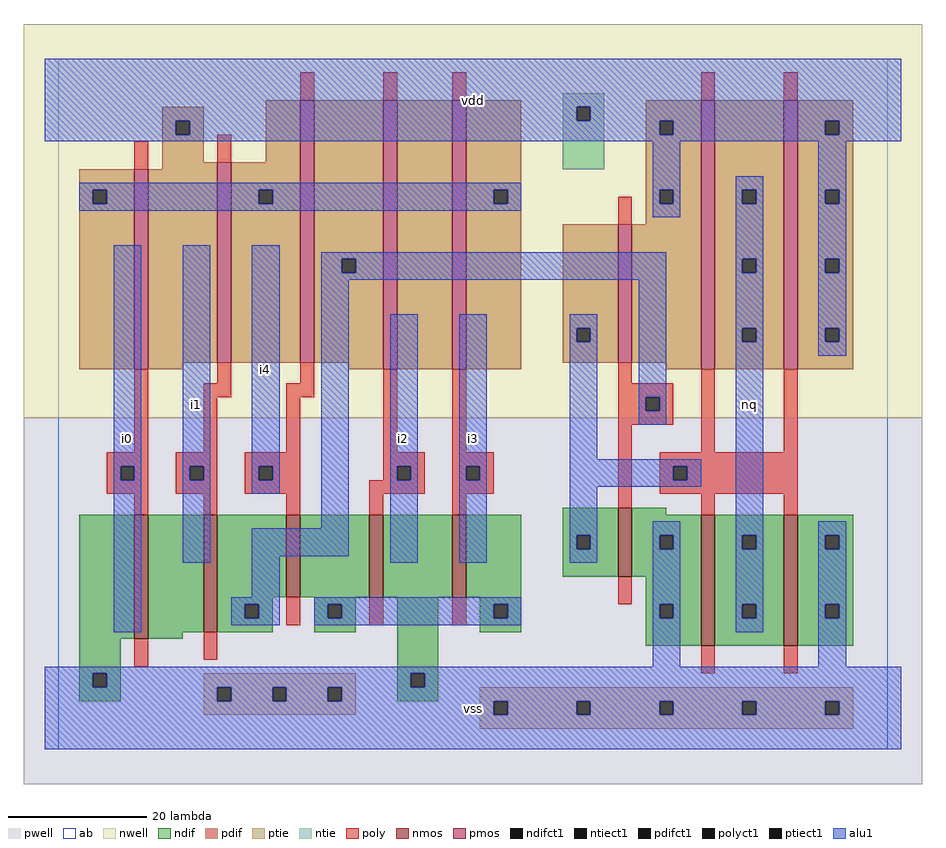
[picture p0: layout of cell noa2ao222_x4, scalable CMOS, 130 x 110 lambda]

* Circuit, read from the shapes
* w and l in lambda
.subckt noa2ao222_x4 i0 i1 i2 i3 i4 nq vdd vss
M1 n1 i0 vss vss nfet w=18 l=2
M2 n2 i1 n1 vss nfet w=17 l=2
M3 n3 i4 n2 vss nfet w=12 l=2
M4 vss i2 n3 vss nfet w=12 l=2
M5 n3 i3 vss vss nfet w=12 l=2
M6 vss n2 n4 vss nfet w=10 l=2
M7 nq n4 vss vss nfet w=19 l=2 m=2
M8 vdd i0 n5 vdd pfet w=29 l=2
M9 n5 i1 vdd vdd pfet w=29 l=2
M10 n2 i4 n5 vdd pfet w=38 l=2
M11 n6 i2 n2 vdd pfet w=39 l=2
M12 n5 i3 n6 vdd pfet w=39 l=2
M13 vdd n2 n4 vdd pfet w=20 l=2
M14 nq n4 vdd vdd pfet w=39 l=2 m=2
.ends

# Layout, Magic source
magic
tech scmos
<< ab >>
rect 0 0 120 100
<< nwell >>
rect -5 48 125 105
<< pwell >>
rect -5 -5 125 48
<< poly >>
rect 35 94 37 98
rect 47 94 49 98
rect 57 94 59 98
rect 11 84 13 88
rect 23 85 25 89
rect 11 43 13 55
rect 23 53 25 56
rect 35 53 37 56
rect 93 94 95 98
rect 105 94 107 98
rect 81 76 83 80
rect 21 51 25 53
rect 33 51 37 53
rect 21 43 23 51
rect 33 43 35 51
rect 7 41 13 43
rect 7 39 9 41
rect 11 39 13 41
rect 7 37 13 39
rect 17 41 23 43
rect 17 39 19 41
rect 21 39 23 41
rect 17 37 23 39
rect 27 41 35 43
rect 27 39 29 41
rect 31 39 35 41
rect 47 43 49 55
rect 57 43 59 55
rect 81 53 83 56
rect 81 51 89 53
rect 81 49 85 51
rect 87 49 89 51
rect 81 47 89 49
rect 47 41 53 43
rect 47 39 49 41
rect 51 39 53 41
rect 27 37 35 39
rect 11 34 13 37
rect 21 34 23 37
rect 33 34 35 37
rect 45 37 53 39
rect 57 41 63 43
rect 57 39 59 41
rect 61 39 63 41
rect 57 37 63 39
rect 45 34 47 37
rect 57 34 59 37
rect 81 35 83 47
rect 93 43 95 55
rect 105 43 107 55
rect 87 41 107 43
rect 87 39 89 41
rect 91 39 107 41
rect 87 37 107 39
rect 93 34 95 37
rect 105 34 107 37
rect 33 18 35 22
rect 45 18 47 22
rect 11 12 13 16
rect 21 13 23 17
rect 57 18 59 22
rect 81 21 83 25
rect 93 11 95 15
rect 105 11 107 15
<< ndif >>
rect 3 16 11 34
rect 13 17 21 34
rect 23 22 33 34
rect 35 22 45 34
rect 47 22 57 34
rect 59 22 67 34
rect 73 31 81 35
rect 73 29 75 31
rect 77 29 81 31
rect 73 25 81 29
rect 83 34 88 35
rect 83 31 93 34
rect 83 29 87 31
rect 89 29 93 31
rect 83 25 93 29
rect 23 21 31 22
rect 23 19 27 21
rect 29 19 31 21
rect 23 17 31 19
rect 37 21 43 22
rect 37 19 39 21
rect 41 19 43 21
rect 37 17 43 19
rect 13 16 18 17
rect 3 11 9 16
rect 49 11 55 22
rect 61 21 67 22
rect 85 21 93 25
rect 61 19 63 21
rect 65 19 67 21
rect 61 17 67 19
rect 85 19 87 21
rect 89 19 93 21
rect 85 15 93 19
rect 95 31 105 34
rect 95 29 99 31
rect 101 29 105 31
rect 95 21 105 29
rect 95 19 99 21
rect 101 19 105 21
rect 95 15 105 19
rect 107 31 115 34
rect 107 29 111 31
rect 113 29 115 31
rect 107 21 115 29
rect 107 19 111 21
rect 113 19 115 21
rect 107 15 115 19
rect 3 9 5 11
rect 7 9 9 11
rect 3 7 9 9
rect 49 9 51 11
rect 53 9 55 11
rect 49 7 55 9
<< pdif >>
rect 15 91 21 93
rect 15 89 17 91
rect 19 89 21 91
rect 15 85 21 89
rect 30 85 35 94
rect 15 84 23 85
rect 3 81 11 84
rect 3 79 5 81
rect 7 79 11 81
rect 3 55 11 79
rect 13 56 23 84
rect 25 81 35 85
rect 25 79 29 81
rect 31 79 35 81
rect 25 56 35 79
rect 37 71 47 94
rect 37 69 41 71
rect 43 69 47 71
rect 37 56 47 69
rect 13 55 18 56
rect 42 55 47 56
rect 49 55 57 94
rect 59 81 67 94
rect 85 91 93 94
rect 85 89 87 91
rect 89 89 93 91
rect 59 79 63 81
rect 65 79 67 81
rect 85 81 93 89
rect 59 55 67 79
rect 85 79 87 81
rect 89 79 93 81
rect 85 76 93 79
rect 73 61 81 76
rect 73 59 75 61
rect 77 59 81 61
rect 73 56 81 59
rect 83 56 93 76
rect 88 55 93 56
rect 95 81 105 94
rect 95 79 99 81
rect 101 79 105 81
rect 95 71 105 79
rect 95 69 99 71
rect 101 69 105 71
rect 95 61 105 69
rect 95 59 99 61
rect 101 59 105 61
rect 95 55 105 59
rect 107 91 115 94
rect 107 89 111 91
rect 113 89 115 91
rect 107 81 115 89
rect 107 79 111 81
rect 113 79 115 81
rect 107 71 115 79
rect 107 69 111 71
rect 113 69 115 71
rect 107 61 115 69
rect 107 59 111 61
rect 113 59 115 61
rect 107 55 115 59
<< alu1 >>
rect -2 93 122 100
rect -2 91 75 93
rect 77 91 122 93
rect -2 89 17 91
rect 19 89 87 91
rect 89 89 111 91
rect 113 89 122 91
rect -2 88 122 89
rect 3 81 67 82
rect 3 79 5 81
rect 7 79 29 81
rect 31 79 63 81
rect 65 79 67 81
rect 3 78 67 79
rect 86 81 90 88
rect 86 79 87 81
rect 89 79 90 81
rect 86 77 90 79
rect 98 81 102 83
rect 98 79 99 81
rect 101 79 102 81
rect 8 41 12 73
rect 8 39 9 41
rect 11 39 12 41
rect 8 17 12 39
rect 18 41 22 73
rect 18 39 19 41
rect 21 39 22 41
rect 18 27 22 39
rect 28 41 32 73
rect 28 39 29 41
rect 31 39 32 41
rect 28 37 32 39
rect 38 71 88 72
rect 38 69 41 71
rect 43 69 88 71
rect 38 68 88 69
rect 38 32 42 68
rect 28 28 42 32
rect 48 41 52 63
rect 48 39 49 41
rect 51 39 52 41
rect 28 22 32 28
rect 48 27 52 39
rect 58 41 62 63
rect 58 39 59 41
rect 61 39 62 41
rect 58 27 62 39
rect 74 61 78 63
rect 74 59 75 61
rect 77 59 78 61
rect 74 42 78 59
rect 84 51 88 68
rect 84 49 85 51
rect 87 49 88 51
rect 84 47 88 49
rect 98 71 102 79
rect 98 69 99 71
rect 101 69 102 71
rect 98 61 102 69
rect 98 59 99 61
rect 101 59 102 61
rect 74 41 93 42
rect 74 39 89 41
rect 91 39 93 41
rect 74 38 93 39
rect 74 31 78 38
rect 74 29 75 31
rect 77 29 78 31
rect 74 27 78 29
rect 86 31 90 33
rect 86 29 87 31
rect 89 29 90 31
rect 25 21 32 22
rect 25 19 27 21
rect 29 19 32 21
rect 25 18 32 19
rect 37 21 67 22
rect 37 19 39 21
rect 41 19 63 21
rect 65 19 67 21
rect 37 18 67 19
rect 86 21 90 29
rect 86 19 87 21
rect 89 19 90 21
rect 86 12 90 19
rect 98 31 102 59
rect 110 81 114 88
rect 110 79 111 81
rect 113 79 114 81
rect 110 71 114 79
rect 110 69 111 71
rect 113 69 114 71
rect 110 61 114 69
rect 110 59 111 61
rect 113 59 114 61
rect 110 57 114 59
rect 98 29 99 31
rect 101 29 102 31
rect 98 21 102 29
rect 98 19 99 21
rect 101 19 102 21
rect 98 17 102 19
rect 110 31 114 33
rect 110 29 111 31
rect 113 29 114 31
rect 110 21 114 29
rect 110 19 111 21
rect 113 19 114 21
rect 110 12 114 19
rect -2 11 122 12
rect -2 9 5 11
rect 7 9 51 11
rect 53 9 122 11
rect -2 7 23 9
rect 25 7 31 9
rect 33 7 39 9
rect 41 7 122 9
rect -2 5 63 7
rect 65 5 75 7
rect 77 5 87 7
rect 89 5 99 7
rect 101 5 111 7
rect 113 5 122 7
rect -2 0 122 5
<< ptie >>
rect 21 9 43 11
rect 21 7 23 9
rect 25 7 31 9
rect 33 7 39 9
rect 41 7 43 9
rect 61 7 115 9
rect 21 5 43 7
rect 61 5 63 7
rect 65 5 75 7
rect 77 5 87 7
rect 89 5 99 7
rect 101 5 111 7
rect 113 5 115 7
rect 61 3 115 5
<< ntie >>
rect 73 93 79 95
rect 73 91 75 93
rect 77 91 79 93
rect 73 84 79 91
<< nmos >>
rect 11 16 13 34
rect 21 17 23 34
rect 33 22 35 34
rect 45 22 47 34
rect 57 22 59 34
rect 81 25 83 35
rect 93 15 95 34
rect 105 15 107 34
<< pmos >>
rect 11 55 13 84
rect 23 56 25 85
rect 35 56 37 94
rect 47 55 49 94
rect 57 55 59 94
rect 81 56 83 76
rect 93 55 95 94
rect 105 55 107 94
<< polyct1 >>
rect 9 39 11 41
rect 19 39 21 41
rect 29 39 31 41
rect 85 49 87 51
rect 49 39 51 41
rect 59 39 61 41
rect 89 39 91 41
<< ndifct1 >>
rect 75 29 77 31
rect 87 29 89 31
rect 27 19 29 21
rect 39 19 41 21
rect 63 19 65 21
rect 87 19 89 21
rect 99 29 101 31
rect 99 19 101 21
rect 111 29 113 31
rect 111 19 113 21
rect 5 9 7 11
rect 51 9 53 11
<< ntiect1 >>
rect 75 91 77 93
<< ptiect1 >>
rect 23 7 25 9
rect 31 7 33 9
rect 39 7 41 9
rect 63 5 65 7
rect 75 5 77 7
rect 87 5 89 7
rect 99 5 101 7
rect 111 5 113 7
<< pdifct1 >>
rect 17 89 19 91
rect 5 79 7 81
rect 29 79 31 81
rect 41 69 43 71
rect 87 89 89 91
rect 63 79 65 81
rect 87 79 89 81
rect 75 59 77 61
rect 99 79 101 81
rect 99 69 101 71
rect 99 59 101 61
rect 111 89 113 91
rect 111 79 113 81
rect 111 69 113 71
rect 111 59 113 61
<< labels >>
rlabel alu1 10 45 10 45 6 i0
rlabel alu1 20 50 20 50 6 i1
rlabel alu1 50 45 50 45 6 i2
rlabel alu1 30 55 30 55 6 i4
rlabel alu1 60 6 60 6 6 vss
rlabel alu1 60 45 60 45 6 i3
rlabel alu1 60 94 60 94 6 vdd
rlabel alu1 100 50 100 50 6 nq
<< end >>
